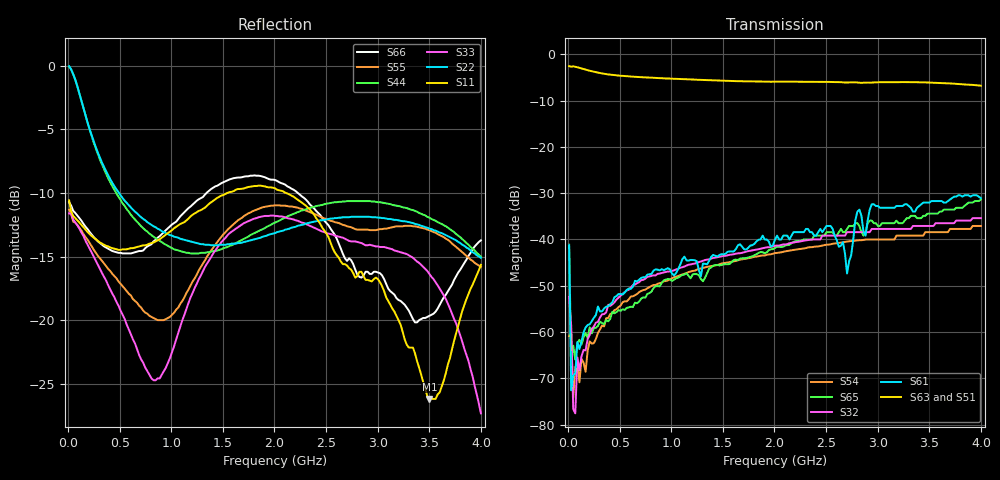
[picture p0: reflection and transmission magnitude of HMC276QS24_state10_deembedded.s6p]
! Hittite Microwave Corporation
! 20 Alpha Road
! Chelmsford, MA 01824
! Tel: 978-250-3343
! Fax: 978-250-3373
! Device: HMC276QS24, 0.7-3.0 GHz, GaAS MMIC 4x2 Switch Matrix in 24-lead QSOP package
! Misc: Data was de-embedded to package pins.
!  Port 1 = OP1
!  Port 2 = VL
!  Port 3 = VH
!  Port 4 = HH
!  Port 5 = HL
!  Port 6 = OP2
!  Vdd = +5 V
!  Vctl = 0 V[Logic 0] / +5 V[Logic 1]
!  State 10,  HL to OP1,  VH to OP2
!  Control Lines (Logic)
!  HV 1 = 1, Tone 1 = 0
!  HV 2 = 0, Tone 2 = 1
!  Data reformated to new Touchstone file format - Wed Jan 10 15:51:44 2007
# MHz S DB R 50
! 6 Port Network Data
! freq  dbS11  angS11  dbS12  angS12  dbS13  angS13  dbS14  angS14
!  dbS15  angS15  dbS16  angS16
!  dbS21  angS21  dbS22  angS22
!  dbS23  angS23  dbS24  angS24  dbS25  angS25  dbS26  angS26
!  dbS31  angS31  dbS32  angS32  dbS33  angS33  dbS34  angS34
!  dbS35  angS35  dbS36  angS36
!  dbS41  angS41  dbS42  angS42
!  dbS43  angS43  dbS44  angS44  dbS45  angS45  dbS46  angS46
!  dbS51  angS51  dbS52  angS52  dbS53  angS53  dbS54  angS54
!  dbS55  angS55  dbS56  angS56
!  dbS61  angS61  dbS62  angS62
!  dbS63  angS63  dbS64  angS64  dbS65  angS65  dbS66  angS66
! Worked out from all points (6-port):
!   201 points, 10 MHz to 4 GHz, reference 50 ohm
!   strongest paths, dB at 10 MHz, 1.008 GHz, 2.005 GHz, 3.002 GHz, 4 GHz:
!     S63: -2.6, -5.3, -5.9, -6.0, -6.8
!     S51: -2.8, -5.3, -6.0, -6.2, -6.9
!     S61: -41.3, -47.4, -40.0, -32.8, -31.1
!     S32: -52.4, -46.8, -41.4, -37.7, -35.4
!     S65: -41.1, -48.9, -41.8, -37.1, -31.4
!     S54: -60.9, -48.4, -42.9, -40.0, -37.1
!   lowest |S11| = -26.2 dB at 3.501 GHz (marker M1), VSWR 1.10, Z = 50.4 + j4.91 ohm
!   |S11| at or under -10 dB: start of sweep to 1.541 GHz; 2.112 GHz to end of sweep
